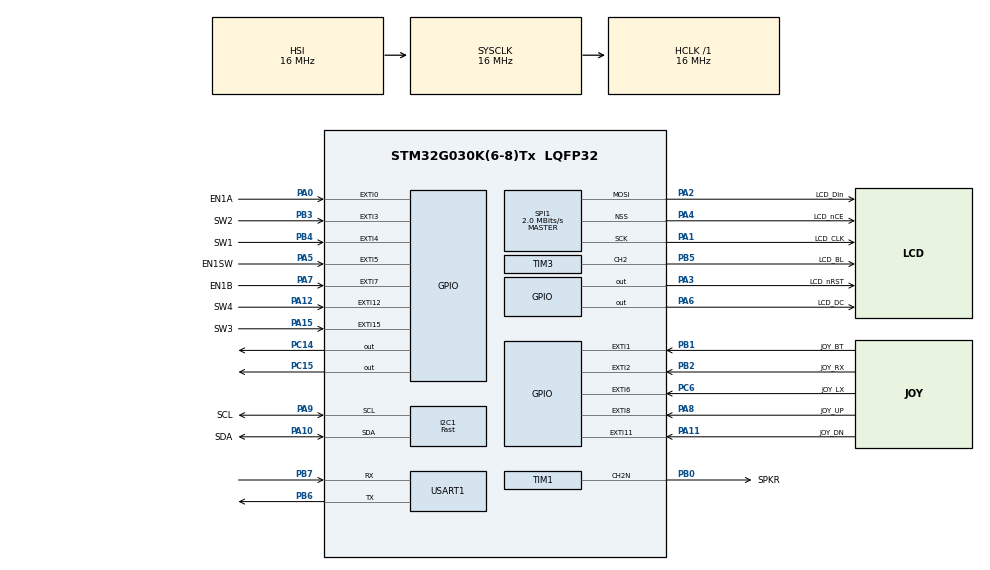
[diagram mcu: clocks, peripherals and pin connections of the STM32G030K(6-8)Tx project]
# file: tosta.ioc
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Dma.Request0=SPI1_TX
Dma.SPI1_TX.0.Direction=DMA_MEMORY_TO_PERIPH
Dma.SPI1_TX.0.EventEnable=DISABLE
Dma.SPI1_TX.0.Instance=DMA1_Channel1
Dma.SPI1_TX.0.MemDataAlignment=DMA_MDATAALIGN_BYTE
Dma.SPI1_TX.0.MemInc=DMA_MINC_ENABLE
Dma.SPI1_TX.0.Mode=DMA_NORMAL
Dma.SPI1_TX.0.PeriphDataAlignment=DMA_PDATAALIGN_BYTE
Dma.SPI1_TX.0.PeriphInc=DMA_PINC_DISABLE
Dma.SPI1_TX.0.Polarity=HAL_DMAMUX_REQ_GEN_RISING
Dma.SPI1_TX.0.Priority=DMA_PRIORITY_LOW
Dma.SPI1_TX.0.RequestNumber=1
Dma.SPI1_TX.0.SignalID=NONE
Dma.SPI1_TX.0.SyncEnable=DISABLE
Dma.SPI1_TX.0.SyncPolarity=HAL_DMAMUX_SYNC_NO_EVENT
Dma.SPI1_TX.0.SyncRequestNumber=1
Dma.SPI1_TX.0.SyncSignalID=NONE
I2C1.Analog_Filter=I2C_ANALOGFILTER_ENABLE
I2C1.I2C_Speed_Mode=I2C_Fast
I2C1.OwnAddress=0x7D
I2C1.Timing=0x0010061A
Mcu.Family=STM32G0
Mcu.Name=STM32G030K(6-8)Tx
Mcu.Package=LQFP32
NVIC.DMA1_Channel1_IRQn=true\:0\:0\:false\:false\:true\:false\:true
NVIC.EXTI0_1_IRQn=true\:1\:0\:true\:false\:false\:true\:false
NVIC.EXTI2_3_IRQn=true\:1\:0\:true\:false\:false\:true\:false
NVIC.EXTI4_15_IRQn=true\:1\:0\:true\:false\:false\:true\:false
NVIC.I2C1_IRQn=true\:0\:0\:true\:false\:true\:true\:true
NVIC.SPI1_IRQn=true\:0\:0\:true\:false\:true\:true\:true
NVIC.TIM14_IRQn=true\:3\:0\:true\:false\:true\:true\:true
NVIC.USART1_IRQn=true\:0\:0\:true\:false\:true\:true\:true
PA0.GPIO_Label=EN1A
PA0.GPIO_ModeDefaultEXTI=GPIO_MODE_IT_RISING_FALLING
PA0.GPIO_PuPd=GPIO_PULLUP
PA0.Signal=GPXTI0
PA1.GPIO_Label=LCD_CLK
PA1.GPIO_Speed=GPIO_SPEED_FREQ_HIGH
PA1.Mode=TX_Only_Simplex_Unidirect_Master
PA1.Signal=SPI1_SCK
PA10.GPIO_Label=SDA
PA10.GPIO_PuPdOD=GPIO_NOPULL
PA10.Mode=I2C
PA10.Signal=I2C1_SDA
PA11\ [PA9].GPIO_Label=JOY_DN
PA11\ [PA9].GPIO_ModeDefaultEXTI=GPIO_MODE_IT_RISING_FALLING
PA11\ [PA9].GPIO_PuPd=GPIO_PULLUP
PA11\ [PA9].Signal=GPXTI11
PA12\ [PA10].GPIO_Label=SW4
PA12\ [PA10].GPIO_ModeDefaultEXTI=GPIO_MODE_IT_RISING_FALLING
PA12\ [PA10].GPIO_PuPd=GPIO_PULLUP
PA12\ [PA10].Signal=GPXTI12
PA13.Mode=Serial_Wire
PA13.Signal=SYS_SWDIO
PA14-BOOT0.Mode=Serial_Wire
PA14-BOOT0.Signal=SYS_SWCLK
PA15.GPIO_Label=SW3
PA15.GPIO_ModeDefaultEXTI=GPIO_MODE_IT_RISING_FALLING
PA15.GPIO_PuPd=GPIO_PULLUP
PA15.Signal=GPXTI15
PA2.GPIO_Label=LCD_Din
PA2.GPIO_Speed=GPIO_SPEED_FREQ_HIGH
PA2.Mode=TX_Only_Simplex_Unidirect_Master
PA2.Signal=SPI1_MOSI
PA3.GPIO_Label=LCD_nRST
PA3.PinState=GPIO_PIN_SET
PA3.Signal=GPIO_Output
PA4.GPIO_Label=LCD_nCE
PA4.GPIO_Speed=GPIO_SPEED_FREQ_HIGH
PA4.Mode=NSS_Signal_Hard_Output
PA4.PinState=GPIO_PIN_SET
PA4.Signal=SPI1_NSS
PA5.GPIO_Label=EN1SW
PA5.GPIO_ModeDefaultEXTI=GPIO_MODE_IT_RISING_FALLING
PA5.GPIO_PuPd=GPIO_PULLUP
PA5.Signal=GPXTI5
PA6.GPIO_Label=LCD_DC
PA6.Signal=GPIO_Output
PA7.GPIO_Label=EN1B
PA7.GPIO_ModeDefaultEXTI=GPIO_MODE_IT_RISING_FALLING
PA7.GPIO_PuPd=GPIO_PULLUP
PA7.Signal=GPXTI7
PA8.GPIO_Label=JOY_UP
PA8.GPIO_ModeDefaultEXTI=GPIO_MODE_IT_RISING_FALLING
PA8.GPIO_PuPd=GPIO_PULLUP
PA8.Signal=GPXTI8
PA9.GPIO_Label=SCL
PA9.GPIO_PuPdOD=GPIO_NOPULL
PA9.Mode=I2C
PA9.Signal=I2C1_SCL
PB0.GPIO_Label=SPKR
PB0.Mode=PWM Generation2 CH2N
PB0.Signal=TIM1_CH2N
PB1.GPIO_Label=JOY_BT
PB1.GPIO_ModeDefaultEXTI=GPIO_MODE_IT_RISING_FALLING
PB1.GPIO_PuPd=GPIO_PULLUP
PB1.Signal=GPXTI1
PB2.GPIO_Label=JOY_RX
PB2.GPIO_ModeDefaultEXTI=GPIO_MODE_IT_RISING_FALLING
PB2.GPIO_PuPd=GPIO_PULLUP
PB2.Signal=GPXTI2
PB3.GPIO_Label=SW2
PB3.GPIO_ModeDefaultEXTI=GPIO_MODE_IT_RISING_FALLING
PB3.GPIO_PuPd=GPIO_PULLUP
PB3.Signal=GPXTI3
PB4.GPIO_Label=SW1
PB4.GPIO_ModeDefaultEXTI=GPIO_MODE_IT_RISING_FALLING
PB4.GPIO_PuPd=GPIO_PULLUP
PB4.Signal=GPXTI4
PB5.GPIO_Label=LCD_BL
PB5.GPIO_ModeDefaultPP=GPIO_MODE_AF_PP
PB5.Signal=S_TIM3_CH2
PB6.Mode=Asynchronous
PB6.Signal=USART1_TX
PB7.Mode=Asynchronous
PB7.Signal=USART1_RX
PB8.Signal=SPI2_SCK
PB9.GPIO_Label=nSSEL
PB9.Signal=SPI2_NSS
PC14-OSC32_IN\ (PC14).Signal=GPIO_Output
PC15-OSC32_OUT\ (PC15).Signal=GPIO_Output
PC6.GPIO_Label=JOY_LX
PC6.GPIO_ModeDefaultEXTI=GPIO_MODE_IT_RISING_FALLING
PC6.GPIO_PuPd=GPIO_PULLUP
PC6.Signal=GPXTI6
ProjectManager.HeapSize=0x200
ProjectManager.StackSize=0x400
ProjectManager.TargetToolchain=STM32CubeIDE
RCC.ADCFreq_Value=16000000
RCC.AHBFreq_Value=16000000
RCC.CortexFreq_Value=16000000
RCC.EXTERNAL_CLOCK_VALUE=12288000
RCC.HCLKFreq_Value=16000000
RCC.HSE_VALUE=8000000
RCC.HSI_VALUE=16000000
RCC.I2C1CLockSelection=RCC_I2C1CLKSOURCE_HSI
RCC.LSE_VALUE=32768
RCC.SYSCLKFreq_VALUE=16000000
RCC.USART1CLockSelection=RCC_USART1CLKSOURCE_HSI
RCC.VCOOutputFreq_Value=128000000
SH.S_TIM3_CH2.0=TIM3_CH2,PWM Generation2 CH2
SPI1.BaudRatePrescaler=SPI_BAUDRATEPRESCALER_8
SPI1.CLKPhase=SPI_PHASE_1EDGE
SPI1.CLKPolarity=SPI_POLARITY_LOW
SPI1.CalculateBaudRate=2.0 MBits/s
SPI1.Direction=SPI_DIRECTION_2LINES
SPI1.Mode=SPI_MODE_MASTER
SPI1.NSSPMode=SPI_NSS_PULSE_ENABLE
SPI1.VirtualNSS=VM_NSSHARD
SPI1.VirtualType=VM_MASTER
TIM1.Channel-PWM\ Generation2\ CH2N=TIM_CHANNEL_2
TIM1.Period=655
TIM1.Prescaler=244
TIM1.Pulse-PWM\ Generation2\ CH2N=0
TIM14.Period=10
TIM14.Prescaler=160
TIM3.Channel-PWM\ Generation2\ CH2=TIM_CHANNEL_2
TIM3.Period=255
TIM3.Prescaler=250
TIM3.Pulse-PWM\ Generation2\ CH2=0
USART1.FIFOMode=FIFOMODE_ENABLE
USART1.VirtualMode-Asynchronous=VM_ASYNC
VP_TIM14_VS_ClockSourceINT.Mode=Enable_Timer
VP_TIM14_VS_OPM.Mode=OPM_bit
VP_TIM1_VS_ClockSourceINT.Mode=Internal
VP_TIM3_VS_ClockSourceINT.Mode=Internal
board=custom

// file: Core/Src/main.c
/* USER CODE BEGIN Header */
/**
  ******************************************************************************
  * @file           : main.c
  * @brief          : Main program body
  ******************************************************************************
  * @attention
  *
  * <h2><center>&copy; Copyright (c) 2021 STMicroelectronics.
  * All rights reserved.</center></h2>
  *
  * This software component is licensed by ST under BSD 3-Clause license,
  * the "License"; You may not use this file except in compliance with the
  * License. You may obtain a copy of the License at:
  *                        opensource.org/licenses/BSD-3-Clause
  *
  ******************************************************************************
  */
/* USER CODE END Header */
#include "main.h"

/* USER CODE BEGIN Includes */
#include "lcd.h"
#include "lcd_char.h"
#include "speaker.h"
#include "buttons.h"
/* USER CODE END Includes */

I2C_HandleTypeDef hi2c1;

SPI_HandleTypeDef hspi1;
DMA_HandleTypeDef hdma_spi1_tx;

TIM_HandleTypeDef htim1;
TIM_HandleTypeDef htim3;
TIM_HandleTypeDef htim14;

UART_HandleTypeDef huart1;

/* USER CODE BEGIN PV */

typedef enum {
	I2C_CMD_WRITE_FRAMEBUF,
} i2c_cmd_t;

static volatile uint8_t char_in;
static volatile uint8_t to_blit = 0;
static volatile uint32_t uart_timeout_ticks = 0;
static volatile i2c_cmd_t i2c_cmd;
volatile uint8_t i2c_idle = 1;
/* USER CODE END PV */

void SystemClock_Config(void);
static void MX_GPIO_Init(void);
static void MX_DMA_Init(void);
static void MX_I2C1_Init(void);
static void MX_SPI1_Init(void);
static void MX_TIM3_Init(void);
static void MX_TIM1_Init(void);
static void MX_USART1_UART_Init(void);
static void MX_TIM14_Init(void);

/* USER CODE BEGIN 0 */
void on_button_pressed(button_t b)
{
	uint8_t d = 'A' + b;
	HAL_UART_Transmit_IT(&huart1, &d, 1);
}

void on_button_released(button_t b)
{
	uint8_t d = 'a' + b;
	HAL_UART_Transmit_IT(&huart1, &d, 1);
}

void on_encoder_change(int8_t sign)
{
	uint8_t d = (sign > 0 ? '+' : '-');
	HAL_UART_Transmit_IT(&huart1, &d, 1);
}

void HAL_UART_RxCpltCallback(UART_HandleTypeDef *huart)
{
	if(huart == &huart1) {
		HAL_ResumeTick();
		LCD_char_inject(char_in);
		uart_timeout_ticks = 5;
		HAL_UART_Receive_IT(&huart1, (void*)&char_in, 1);
	}
}

void HAL_I2C_SlaveRxCpltCallback(I2C_HandleTypeDef* hi2c)
{
	if(hi2c == &hi2c1) {
		if(i2c_idle) {
			i2c_idle = 0;
			switch(i2c_cmd) {
				case I2C_CMD_WRITE_FRAMEBUF:
					HAL_I2C_Slave_Receive_IT(&hi2c1, (void*)lcd_framebuf, LCD_FRAMEBUF_SIZE);
					break;
				default:
					i2c_idle = 1;
					HAL_I2C_Slave_Receive_IT(&hi2c1, (void*)&i2c_cmd, 1);
					break;
			}
		}
		else {
			switch(i2c_cmd) {
				case I2C_CMD_WRITE_FRAMEBUF:
					to_blit = 1;
					break;
			}
			HAL_I2C_Slave_Receive_IT(&hi2c1, (void*)&i2c_cmd, 1);
			i2c_idle = 1;
		}

		HAL_ResumeTick();
	}
}

void HAL_IncTick(void)
{
	uwTick += uwTickFreq;
	speaker_standby_tick(uwTickFreq);
	LCD_standby_tick(uwTickFreq);
	if(uart_timeout_ticks > uwTickFreq)
		uart_timeout_ticks -= uwTickFreq;
	else {
		if(uart_timeout_ticks)
			to_blit = 1;
		uart_timeout_ticks = 0;
	}
}
/* USER CODE END 0 */

int main(void)
{

  /* MCU Configuration--------------------------------------------------------*/

  /* Reset of all peripherals, Initializes the Flash interface and the Systick. */
  HAL_Init();

  /* Configure the system clock */
  SystemClock_Config();

  /* Initialize all configured peripherals */
  MX_GPIO_Init();
  MX_DMA_Init();
  MX_I2C1_Init();
  MX_SPI1_Init();
  MX_TIM3_Init();
  MX_TIM1_Init();
  MX_USART1_UART_Init();
  MX_TIM14_Init();
  /* USER CODE BEGIN 2 */

#if (ENABLE_I2C == 0)
  HAL_I2C_DeInit(&hi2c1);
#endif

  speaker_init();
  LCD_init();

#ifdef DEBUG
  HAL_DBGMCU_EnableDBGStopMode();
#else
  do {
	  GPIO_InitTypeDef GPIO_InitStruct = {0};

	  GPIO_InitStruct.Pin = GPIO_PIN_13;
	  GPIO_InitStruct.Mode = GPIO_MODE_OUTPUT_PP;
	  GPIO_InitStruct.Pull = GPIO_NOPULL;
	  GPIO_InitStruct.Speed = GPIO_SPEED_FREQ_LOW;
	  HAL_GPIO_Init(GPIOA, &GPIO_InitStruct);
	  HAL_GPIO_WritePin(GPIOA, GPIO_PIN_13, 0);

	  GPIO_InitStruct.Pin = GPIO_PIN_14;
	  GPIO_InitStruct.Mode = GPIO_MODE_OUTPUT_PP;
	  GPIO_InitStruct.Pull = GPIO_NOPULL;
	  GPIO_InitStruct.Speed = GPIO_SPEED_FREQ_LOW;
	  HAL_GPIO_Init(GPIOA, &GPIO_InitStruct);
	  HAL_GPIO_WritePin(GPIOA, GPIO_PIN_14, 0);
  } while(0);
#endif

  UART_WakeUpTypeDef uw = { UART_WAKEUP_ON_READDATA_NONEMPTY, 0, 0 };
  HAL_UARTEx_StopModeWakeUpSourceConfig(&huart1, uw);
  HAL_UARTEx_EnableStopMode(&huart1);
  HAL_UART_Receive_IT(&huart1, (void*)&char_in, 1);

  HAL_I2CEx_EnableWakeUp(&hi2c1);
  HAL_I2C_Slave_Receive_IT(&hi2c1, (void*)&i2c_cmd, 1);
  /* USER CODE END 2 */

  /* Infinite loop */
  while(1)
  {

    /* USER CODE BEGIN 3 */
	if(to_blit) {
		LCD_blit();
		to_blit = 0;
	}

	if(LCD_active() || speaker_playing() || buttons_debouncing() || uart_timeout_ticks || !i2c_idle)
		HAL_PWR_EnterSLEEPMode(PWR_LOWPOWERREGULATOR_ON, PWR_SLEEPENTRY_WFI);
	else {
		LCD_standby_enter();
		HAL_SuspendTick();
		HAL_PWR_EnterSTOPMode(PWR_LOWPOWERREGULATOR_ON, PWR_STOPENTRY_WFI);
		HAL_ResumeTick();
	}
  }
  /* USER CODE END 3 */
}

void SystemClock_Config(void)
{
  RCC_OscInitTypeDef RCC_OscInitStruct = {0};
  RCC_ClkInitTypeDef RCC_ClkInitStruct = {0};
  RCC_PeriphCLKInitTypeDef PeriphClkInit = {0};

  /** Configure the main internal regulator output voltage
  */
  HAL_PWREx_ControlVoltageScaling(PWR_REGULATOR_VOLTAGE_SCALE1);
  /** Initializes the RCC Oscillators according to the specified parameters
  * in the RCC_OscInitTypeDef structure.
  */
  RCC_OscInitStruct.OscillatorType = RCC_OSCILLATORTYPE_HSI;
  RCC_OscInitStruct.HSIState = RCC_HSI_ON;
  RCC_OscInitStruct.HSIDiv = RCC_HSI_DIV1;
  RCC_OscInitStruct.HSICalibrationValue = RCC_HSICALIBRATION_DEFAULT;
  RCC_OscInitStruct.PLL.PLLState = RCC_PLL_NONE;
  if (HAL_RCC_OscConfig(&RCC_OscInitStruct) != HAL_OK)
  {
    Error_Handler();
  }
  /** Initializes the CPU, AHB and APB buses clocks
  */
  RCC_ClkInitStruct.ClockType = RCC_CLOCKTYPE_HCLK|RCC_CLOCKTYPE_SYSCLK
                              |RCC_CLOCKTYPE_PCLK1;
  RCC_ClkInitStruct.SYSCLKSource = RCC_SYSCLKSOURCE_HSI;
  RCC_ClkInitStruct.AHBCLKDivider = RCC_SYSCLK_DIV1;
  RCC_ClkInitStruct.APB1CLKDivider = RCC_HCLK_DIV1;

  if (HAL_RCC_ClockConfig(&RCC_ClkInitStruct, FLASH_LATENCY_0) != HAL_OK)
  {
    Error_Handler();
  }
  /** Initializes the peripherals clocks
  */
  PeriphClkInit.PeriphClockSelection = RCC_PERIPHCLK_USART1|RCC_PERIPHCLK_I2C1;
  PeriphClkInit.Usart1ClockSelection = RCC_USART1CLKSOURCE_HSI;
  PeriphClkInit.I2c1ClockSelection = RCC_I2C1CLKSOURCE_HSI;
  if (HAL_RCCEx_PeriphCLKConfig(&PeriphClkInit) != HAL_OK)
  {
    Error_Handler();
  }
}

static void MX_I2C1_Init(void)
{

  hi2c1.Instance = I2C1;
  hi2c1.Init.Timing = 0x0010061A;
  hi2c1.Init.OwnAddress1 = 250;
  hi2c1.Init.AddressingMode = I2C_ADDRESSINGMODE_7BIT;
  hi2c1.Init.DualAddressMode = I2C_DUALADDRESS_DISABLE;
  hi2c1.Init.OwnAddress2 = 0;
  hi2c1.Init.OwnAddress2Masks = I2C_OA2_NOMASK;
  hi2c1.Init.GeneralCallMode = I2C_GENERALCALL_DISABLE;
  hi2c1.Init.NoStretchMode = I2C_NOSTRETCH_DISABLE;
  if (HAL_I2C_Init(&hi2c1) != HAL_OK)
  {
    Error_Handler();
  }
  /** Configure Analogue filter
  */
  if (HAL_I2CEx_ConfigAnalogFilter(&hi2c1, I2C_ANALOGFILTER_ENABLE) != HAL_OK)
  {
    Error_Handler();
  }
  /** Configure Digital filter
  */
  if (HAL_I2CEx_ConfigDigitalFilter(&hi2c1, 0) != HAL_OK)
  {
    Error_Handler();
  }

}

static void MX_SPI1_Init(void)
{

  /* SPI1 parameter configuration*/
  hspi1.Instance = SPI1;
  hspi1.Init.Mode = SPI_MODE_MASTER;
  hspi1.Init.Direction = SPI_DIRECTION_2LINES;
  hspi1.Init.DataSize = SPI_DATASIZE_8BIT;
  hspi1.Init.CLKPolarity = SPI_POLARITY_LOW;
  hspi1.Init.CLKPhase = SPI_PHASE_1EDGE;
  hspi1.Init.NSS = SPI_NSS_HARD_OUTPUT;
  hspi1.Init.BaudRatePrescaler = SPI_BAUDRATEPRESCALER_8;
  hspi1.Init.FirstBit = SPI_FIRSTBIT_MSB;
  hspi1.Init.TIMode = SPI_TIMODE_DISABLE;
  hspi1.Init.CRCCalculation = SPI_CRCCALCULATION_DISABLE;
  hspi1.Init.CRCPolynomial = 7;
  hspi1.Init.CRCLength = SPI_CRC_LENGTH_DATASIZE;
  hspi1.Init.NSSPMode = SPI_NSS_PULSE_ENABLE;
  if (HAL_SPI_Init(&hspi1) != HAL_OK)
  {
    Error_Handler();
  }

}

static void MX_TIM1_Init(void)
{

  TIM_ClockConfigTypeDef sClockSourceConfig = {0};
  TIM_MasterConfigTypeDef sMasterConfig = {0};
  TIM_OC_InitTypeDef sConfigOC = {0};
  TIM_BreakDeadTimeConfigTypeDef sBreakDeadTimeConfig = {0};

  htim1.Instance = TIM1;
  htim1.Init.Prescaler = 244;
  htim1.Init.CounterMode = TIM_COUNTERMODE_UP;
  htim1.Init.Period = 655;
  htim1.Init.ClockDivision = TIM_CLOCKDIVISION_DIV1;
  htim1.Init.RepetitionCounter = 0;
  htim1.Init.AutoReloadPreload = TIM_AUTORELOAD_PRELOAD_DISABLE;
  if (HAL_TIM_Base_Init(&htim1) != HAL_OK)
  {
    Error_Handler();
  }
  sClockSourceConfig.ClockSource = TIM_CLOCKSOURCE_INTERNAL;
  if (HAL_TIM_ConfigClockSource(&htim1, &sClockSourceConfig) != HAL_OK)
  {
    Error_Handler();
  }
  if (HAL_TIM_PWM_Init(&htim1) != HAL_OK)
  {
    Error_Handler();
  }
  sMasterConfig.MasterOutputTrigger = TIM_TRGO_RESET;
  sMasterConfig.MasterOutputTrigger2 = TIM_TRGO2_RESET;
  sMasterConfig.MasterSlaveMode = TIM_MASTERSLAVEMODE_DISABLE;
  if (HAL_TIMEx_MasterConfigSynchronization(&htim1, &sMasterConfig) != HAL_OK)
  {
    Error_Handler();
  }
  sConfigOC.OCMode = TIM_OCMODE_PWM1;
  sConfigOC.Pulse = 0;
  sConfigOC.OCPolarity = TIM_OCPOLARITY_HIGH;
  sConfigOC.OCNPolarity = TIM_OCNPOLARITY_HIGH;
  sConfigOC.OCFastMode = TIM_OCFAST_DISABLE;
  sConfigOC.OCIdleState = TIM_OCIDLESTATE_RESET;
  sConfigOC.OCNIdleState = TIM_OCNIDLESTATE_RESET;
  if (HAL_TIM_PWM_ConfigChannel(&htim1, &sConfigOC, TIM_CHANNEL_2) != HAL_OK)
  {
    Error_Handler();
  }
  sBreakDeadTimeConfig.OffStateRunMode = TIM_OSSR_DISABLE;
  sBreakDeadTimeConfig.OffStateIDLEMode = TIM_OSSI_DISABLE;
  sBreakDeadTimeConfig.LockLevel = TIM_LOCKLEVEL_OFF;
  sBreakDeadTimeConfig.DeadTime = 0;
  sBreakDeadTimeConfig.BreakState = TIM_BREAK_DISABLE;
  sBreakDeadTimeConfig.BreakPolarity = TIM_BREAKPOLARITY_HIGH;
  sBreakDeadTimeConfig.BreakFilter = 0;
  sBreakDeadTimeConfig.BreakAFMode = TIM_BREAK_AFMODE_INPUT;
  sBreakDeadTimeConfig.Break2State = TIM_BREAK2_DISABLE;
  sBreakDeadTimeConfig.Break2Polarity = TIM_BREAK2POLARITY_HIGH;
  sBreakDeadTimeConfig.Break2Filter = 0;
  sBreakDeadTimeConfig.Break2AFMode = TIM_BREAK_AFMODE_INPUT;
  sBreakDeadTimeConfig.AutomaticOutput = TIM_AUTOMATICOUTPUT_DISABLE;
  if (HAL_TIMEx_ConfigBreakDeadTime(&htim1, &sBreakDeadTimeConfig) != HAL_OK)
  {
    Error_Handler();
  }
  HAL_TIM_MspPostInit(&htim1);

}

static void MX_TIM3_Init(void)
{

  TIM_ClockConfigTypeDef sClockSourceConfig = {0};
  TIM_MasterConfigTypeDef sMasterConfig = {0};
  TIM_OC_InitTypeDef sConfigOC = {0};

  htim3.Instance = TIM3;
  htim3.Init.Prescaler = 250;
  htim3.Init.CounterMode = TIM_COUNTERMODE_UP;
  htim3.Init.Period = 255;
  htim3.Init.ClockDivision = TIM_CLOCKDIVISION_DIV1;
  htim3.Init.AutoReloadPreload = TIM_AUTORELOAD_PRELOAD_DISABLE;
  if (HAL_TIM_Base_Init(&htim3) != HAL_OK)
  {
    Error_Handler();
  }
  sClockSourceConfig.ClockSource = TIM_CLOCKSOURCE_INTERNAL;
  if (HAL_TIM_ConfigClockSource(&htim3, &sClockSourceConfig) != HAL_OK)
  {
    Error_Handler();
  }
  if (HAL_TIM_PWM_Init(&htim3) != HAL_OK)
  {
    Error_Handler();
  }
  sMasterConfig.MasterOutputTrigger = TIM_TRGO_RESET;
  sMasterConfig.MasterSlaveMode = TIM_MASTERSLAVEMODE_DISABLE;
  if (HAL_TIMEx_MasterConfigSynchronization(&htim3, &sMasterConfig) != HAL_OK)
  {
    Error_Handler();
  }
  sConfigOC.OCMode = TIM_OCMODE_PWM1;
  sConfigOC.Pulse = 0;
  sConfigOC.OCPolarity = TIM_OCPOLARITY_HIGH;
  sConfigOC.OCFastMode = TIM_OCFAST_DISABLE;
  if (HAL_TIM_PWM_ConfigChannel(&htim3, &sConfigOC, TIM_CHANNEL_2) != HAL_OK)
  {
    Error_Handler();
  }
  HAL_TIM_MspPostInit(&htim3);

}

static void MX_TIM14_Init(void)
{

  htim14.Instance = TIM14;
  htim14.Init.Prescaler = 160;
  htim14.Init.CounterMode = TIM_COUNTERMODE_UP;
  htim14.Init.Period = 10;
  htim14.Init.ClockDivision = TIM_CLOCKDIVISION_DIV1;
  htim14.Init.AutoReloadPreload = TIM_AUTORELOAD_PRELOAD_DISABLE;
  if (HAL_TIM_Base_Init(&htim14) != HAL_OK)
  {
    Error_Handler();
  }
  if (HAL_TIM_OnePulse_Init(&htim14, TIM_OPMODE_SINGLE) != HAL_OK)
  {
    Error_Handler();
  }

}

static void MX_USART1_UART_Init(void)
{

  huart1.Instance = USART1;
  huart1.Init.BaudRate = 115200;
  huart1.Init.WordLength = UART_WORDLENGTH_8B;
  huart1.Init.StopBits = UART_STOPBITS_1;
  huart1.Init.Parity = UART_PARITY_NONE;
  huart1.Init.Mode = UART_MODE_TX_RX;
  huart1.Init.HwFlowCtl = UART_HWCONTROL_NONE;
  huart1.Init.OverSampling = UART_OVERSAMPLING_16;
  huart1.Init.OneBitSampling = UART_ONE_BIT_SAMPLE_DISABLE;
  huart1.Init.ClockPrescaler = UART_PRESCALER_DIV1;
  huart1.AdvancedInit.AdvFeatureInit = UART_ADVFEATURE_NO_INIT;
  if (HAL_UART_Init(&huart1) != HAL_OK)
  {
    Error_Handler();
  }
  if (HAL_UARTEx_SetTxFifoThreshold(&huart1, UART_TXFIFO_THRESHOLD_1_8) != HAL_OK)
  {
    Error_Handler();
  }
  if (HAL_UARTEx_SetRxFifoThreshold(&huart1, UART_RXFIFO_THRESHOLD_1_8) != HAL_OK)
  {
    Error_Handler();
  }
  if (HAL_UARTEx_EnableFifoMode(&huart1) != HAL_OK)
  {
    Error_Handler();
  }

}

static void MX_DMA_Init(void)
{

  /* DMA controller clock enable */
  __HAL_RCC_DMA1_CLK_ENABLE();

  /* DMA interrupt init */
  /* DMA1_Channel1_IRQn interrupt configuration */
  HAL_NVIC_SetPriority(DMA1_Channel1_IRQn, 0, 0);
  HAL_NVIC_EnableIRQ(DMA1_Channel1_IRQn);

}

static void MX_GPIO_Init(void)
{
  GPIO_InitTypeDef GPIO_InitStruct = {0};

  /* GPIO Ports Clock Enable */
  __HAL_RCC_GPIOB_CLK_ENABLE();
  __HAL_RCC_GPIOC_CLK_ENABLE();
  __HAL_RCC_GPIOA_CLK_ENABLE();

  /*Configure GPIO pin Output Level */
  HAL_GPIO_WritePin(GPIOC, GPIO_PIN_14|GPIO_PIN_15, GPIO_PIN_RESET);

  /*Configure GPIO pin Output Level */
  HAL_GPIO_WritePin(LCD_nRST_GPIO_Port, LCD_nRST_Pin, GPIO_PIN_SET);

  /*Configure GPIO pin Output Level */
  HAL_GPIO_WritePin(LCD_DC_GPIO_Port, LCD_DC_Pin, GPIO_PIN_RESET);

  /*Configure GPIO pin : nSSEL_Pin */
  GPIO_InitStruct.Pin = nSSEL_Pin;
  GPIO_InitStruct.Mode = GPIO_MODE_AF_PP;
  GPIO_InitStruct.Pull = GPIO_NOPULL;
  GPIO_InitStruct.Speed = GPIO_SPEED_FREQ_LOW;
  GPIO_InitStruct.Alternate = GPIO_AF5_SPI2;
  HAL_GPIO_Init(nSSEL_GPIO_Port, &GPIO_InitStruct);

  /*Configure GPIO pins : PC14 PC15 */
  GPIO_InitStruct.Pin = GPIO_PIN_14|GPIO_PIN_15;
  GPIO_InitStruct.Mode = GPIO_MODE_OUTPUT_PP;
  GPIO_InitStruct.Pull = GPIO_NOPULL;
  GPIO_InitStruct.Speed = GPIO_SPEED_FREQ_LOW;
  HAL_GPIO_Init(GPIOC, &GPIO_InitStruct);

  /*Configure GPIO pins : EN1A_Pin EN1SW_Pin EN1B_Pin JOY_UP_Pin
                           JOY_DN_Pin SW4_Pin SW3_Pin */
  GPIO_InitStruct.Pin = EN1A_Pin|EN1SW_Pin|EN1B_Pin|JOY_UP_Pin
                          |JOY_DN_Pin|SW4_Pin|SW3_Pin;
  GPIO_InitStruct.Mode = GPIO_MODE_IT_RISING_FALLING;
  GPIO_InitStruct.Pull = GPIO_PULLUP;
  HAL_GPIO_Init(GPIOA, &GPIO_InitStruct);

  /*Configure GPIO pins : LCD_nRST_Pin LCD_DC_Pin */
  GPIO_InitStruct.Pin = LCD_nRST_Pin|LCD_DC_Pin;
  GPIO_InitStruct.Mode = GPIO_MODE_OUTPUT_PP;
  GPIO_InitStruct.Pull = GPIO_NOPULL;
  GPIO_InitStruct.Speed = GPIO_SPEED_FREQ_LOW;
  HAL_GPIO_Init(GPIOA, &GPIO_InitStruct);

  /*Configure GPIO pins : JOY_BT_Pin JOY_RX_Pin SW2_Pin SW1_Pin */
  GPIO_InitStruct.Pin = JOY_BT_Pin|JOY_RX_Pin|SW2_Pin|SW1_Pin;
  GPIO_InitStruct.Mode = GPIO_MODE_IT_RISING_FALLING;
  GPIO_InitStruct.Pull = GPIO_PULLUP;
  HAL_GPIO_Init(GPIOB, &GPIO_InitStruct);

  /*Configure GPIO pin : JOY_LX_Pin */
  GPIO_InitStruct.Pin = JOY_LX_Pin;
  GPIO_InitStruct.Mode = GPIO_MODE_IT_RISING_FALLING;
  GPIO_InitStruct.Pull = GPIO_PULLUP;
  HAL_GPIO_Init(JOY_LX_GPIO_Port, &GPIO_InitStruct);

  /*Configure GPIO pin : PB8 */
  GPIO_InitStruct.Pin = GPIO_PIN_8;
  GPIO_InitStruct.Mode = GPIO_MODE_AF_PP;
  GPIO_InitStruct.Pull = GPIO_NOPULL;
  GPIO_InitStruct.Speed = GPIO_SPEED_FREQ_LOW;
  GPIO_InitStruct.Alternate = GPIO_AF1_SPI2;
  HAL_GPIO_Init(GPIOB, &GPIO_InitStruct);

  /* EXTI interrupt init*/
  HAL_NVIC_SetPriority(EXTI0_1_IRQn, 1, 0);
  HAL_NVIC_EnableIRQ(EXTI0_1_IRQn);

  HAL_NVIC_SetPriority(EXTI2_3_IRQn, 1, 0);
  HAL_NVIC_EnableIRQ(EXTI2_3_IRQn);

  HAL_NVIC_SetPriority(EXTI4_15_IRQn, 1, 0);
  HAL_NVIC_EnableIRQ(EXTI4_15_IRQn);

}

void Error_Handler(void)
{
}

/************************ (C) COPYRIGHT STMicroelectronics *****END OF FILE****/
